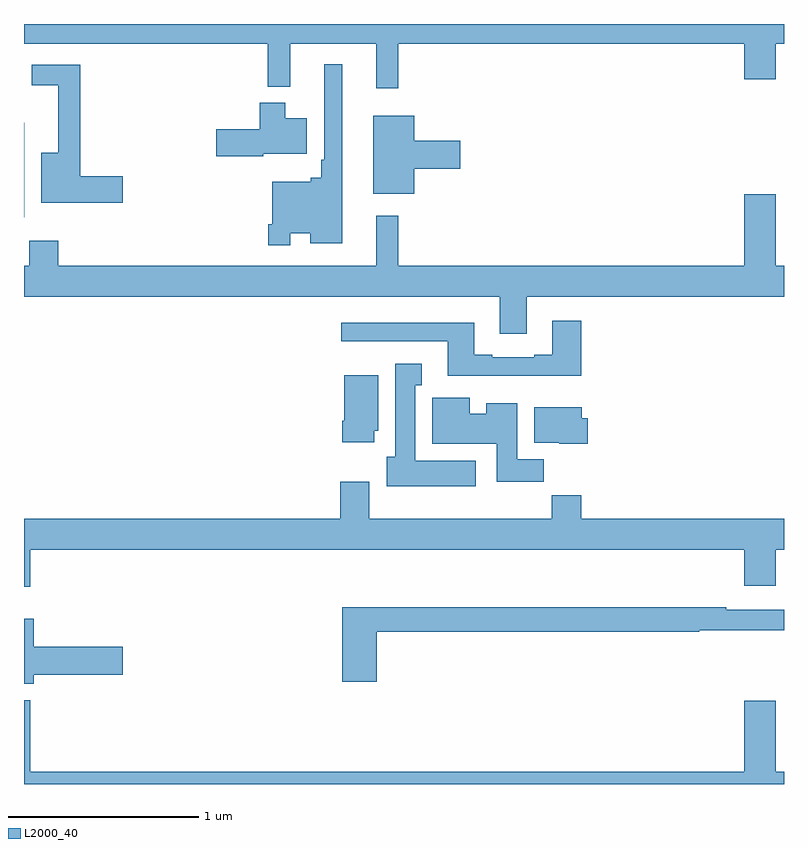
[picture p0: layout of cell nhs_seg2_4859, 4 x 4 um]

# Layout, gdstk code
import gdstk
lib = gdstk.Library(unit=1e-6, precision=1e-09)
def P(c, l, *ps):  # polygons
    for p in ps: c.add(gdstk.Polygon(p, *l))
L2000_40 = (2000, 40)

nhs_seg2_4859 = lib.new_cell('nhs_seg2_4859')
P(nhs_seg2_4859, L2000_40, [(378.971,587.696),(380.792,587.696),(380.792,587.508),(380.956,587.508),(380.956,587.696),(381,587.696),(381,587.8),(377,587.8),(377,587.696),(378.283,587.696),(378.283,587.471),(378.401,587.471),(378.401,587.696),(378.854,587.696),(378.854,587.463),(378.971,587.463)],
  [(378.402,586.7),(378.506,586.7),(378.506,586.646),(378.676,586.646),(378.676,587.587),(378.579,587.587),(378.579,587.086),(378.564,587.086),(378.564,586.99),(378.51,586.99),(378.51,586.969),(378.306,586.969),(378.306,586.747),(378.286,586.747),(378.286,586.635),(378.402,586.635)],
  [(377.521,587),(377.297,587),(377.297,587.586),(377.04,587.586),(377.04,587.478),(377.18,587.478),(377.18,587.122),(377.09,587.122),(377.09,586.858),(377.521,586.858)],
  [(378.258,587.118),(378.489,587.118),(378.489,587.305),(378.376,587.305),(378.376,587.386),(378.242,587.386),(378.242,587.247),(378.012,587.247),(378.012,587.105),(378.258,587.105)],
  [(379.054,587.039),(379.297,587.039),(379.297,587.186),(379.054,587.186),(379.054,587.317),(378.839,587.317),(378.839,586.907),(379.054,586.907)],
  [(377.001,586.785),(377.001,587.281),(377,587.281),(377,586.784)],
  [(378.971,586.792),(378.854,586.792),(378.854,586.528),(377.18,586.528),(377.18,586.66),(377.028,586.66),(377.028,586.528),(377,586.528),(377,586.364),(379.505,586.364),(379.505,586.17),(379.645,586.17),(379.645,586.364),(381,586.364),(381,586.528),(380.956,586.528),(380.956,586.903),(380.792,586.903),(380.792,586.528),(378.971,586.528)],
  [(379.934,586.237),(379.781,586.237),(379.781,586.06),(379.685,586.06),(379.685,586.047),(379.465,586.047),(379.465,586.06),(379.369,586.06),(379.369,586.228),(378.669,586.228),(378.669,586.131),(379.229,586.131),(379.229,585.95),(379.934,585.95)],
  [(379.378,585.502),(379.06,585.502),(379.06,585.899),(379.093,585.899),(379.093,586.012),(378.953,586.012),(378.953,585.522),(378.908,585.522),(378.908,585.368),(379.378,585.368)],
  [(378.844,585.66),(378.865,585.66),(378.865,585.952),(378.686,585.952),(378.686,585.712),(378.674,585.712),(378.674,585.6),(378.844,585.6)],
  [(379.736,585.508),(379.597,585.508),(379.597,585.805),(379.433,585.805),(379.433,585.748),(379.345,585.748),(379.345,585.832),(379.148,585.832),(379.148,585.59),(379.487,585.59),(379.487,585.39),(379.736,585.39)],
  [(379.967,585.726),(379.936,585.726),(379.936,585.784),(379.685,585.784),(379.685,585.596),(379.818,585.596),(379.818,585.59),(379.967,585.59)],
  [(377.033,585.032),(380.792,585.032),(380.792,584.844),(380.956,584.844),(380.956,585.032),(381,585.032),(381,585.196),(379.934,585.196),(379.934,585.32),(379.777,585.32),(379.777,585.196),(378.817,585.196),(378.817,585.391),(378.665,585.391),(378.665,585.196),(377,585.196),(377,584.838),(377.033,584.838)],
  [(378.857,584.602),(380.554,584.602),(380.554,584.61),(381,584.61),(381,584.718),(380.696,584.718),(380.696,584.731),(378.674,584.731),(378.674,584.337),(378.857,584.337)],
  [(377.05,584.375),(377.521,584.375),(377.521,584.522),(377.05,584.522),(377.05,584.671),(377,584.671),(377,584.327),(377.05,584.327)],
  [(381,583.864),(380.956,583.864),(380.956,584.239),(380.792,584.239),(380.792,583.864),(377.033,583.864),(377.033,584.242),(377,584.242),(377,583.8),(381,583.8)])

lib.write_gds('nhs_seg2_4859.gds')
